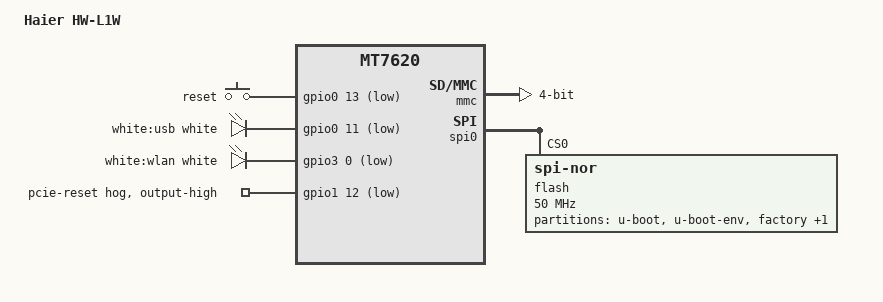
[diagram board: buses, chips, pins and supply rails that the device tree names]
// SPDX-License-Identifier: GPL-2.0-or-later

/dts-v1/;

#include "mt7620.dtsi"

#include <dt-bindings/gpio/gpio.h>
#include <dt-bindings/input/input.h>
#include <dt-bindings/leds/common.h>

/ {
	compatible = "haier,hw-l1w", "mediatek,mt7620-soc";
	model = "Haier HW-L1W";

	aliases {
		button-boot1 = &key_reset;
		led-status1 = &led_usb;
		serial0 = &uartlite;
		spi0 = &spi0;
	};

	chosen {
		stdout-path = &uartlite;
	};

	config {
		button-reset-env;
	};

	gpio-keys {
		compatible = "gpio-keys";

		key_reset: reset {
			label = "reset";
			gpios = <&gpio0 13 GPIO_ACTIVE_LOW>;
			linux,code = <KEY_RESTART>;
		};
	};

	gpio-leds {
		compatible = "gpio-leds";

		led_usb: led-usb {
			label = "white:usb";
			color = <LED_COLOR_ID_WHITE>;
			function = LED_FUNCTION_USB;
			gpios = <&gpio0 11 GPIO_ACTIVE_LOW>;
			default-state = "on";
		};

		led-wlan {
			label = "white:wlan";
			color = <LED_COLOR_ID_WHITE>;
			function = LED_FUNCTION_WLAN;
			gpios = <&gpio3 0 GPIO_ACTIVE_LOW>;
			default-state = "off";
		};
	};
};

&gpio1 {
	pcie-reset {
		gpio-hog;
		gpios = <12 GPIO_ACTIVE_LOW>;
		output-high;
	};
};

&mmc {
	status = "okay";

	bus-width = <4>;
	cap-sd-highspeed;
};

&spi0 {
	flash@0 {
		compatible = "jedec,spi-nor";
		reg = <0>;
		spi-max-frequency = <50000000>;

		partitions {
			compatible = "fixed-partitions";
			#address-cells = <1>;
			#size-cells = <1>;

			partition@0 {
				label = "u-boot";
				reg = <0x000000 0x030000>;
			};

			partition@30000 {
				label = "u-boot-env";
				reg = <0x030000 0x010000>;
			};

			partition@40000 {
				label = "factory";
				reg = <0x040000 0x010000>;
			};

			partition@50000 {
				label = "firmware";
				reg = <0x050000 0xfb0000>;
			};
		};
	};
};

&state_default {
	gpios {
		groups = "i2c", "uartf", "mdio", "rgmii1", "rgmii2", "perst", \
			 "pa", "wdt rst", "wled";
		function = "gpio";
	};

	sd_pins {
		groups = "nand";
		function = "sd";
	};

	pleds {
		groups = "ephy led";
		function = "led";
	};
};
